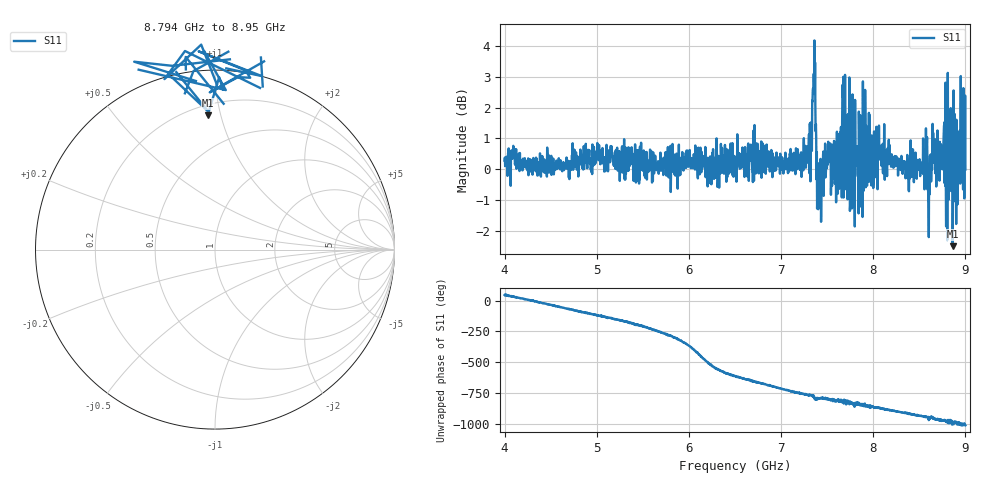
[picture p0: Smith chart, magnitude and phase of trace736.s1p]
! Created with skrf 1.8.0 (http://scikit-rf.org).
# Hz S RI R 50.0
!freq ReS11 ImS11
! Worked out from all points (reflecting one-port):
!   1601 points, 4 GHz to 9 GHz, reference 50 ohm
!   lowest |S11| = -2.5 dB at 8.862 GHz (marker M1), VSWR 6.98, Z = 13.3 + j45.5 ohm
!   phase of S11 starts at 46 deg and turns -1057 deg over the sweep
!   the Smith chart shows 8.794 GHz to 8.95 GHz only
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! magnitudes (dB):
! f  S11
! 4 GHz  0.3
! 4.625 GHz  -0.1
! 5.25 GHz  -0.4
! 5.875 GHz  0.3
! 6.5 GHz  0.0
! 7.125 GHz  0.2
! 7.294 GHz  0.2
! 7.356 GHz  3.1
! 7.4 GHz  -0.4
! 7.416 GHz  -0.8
! 7.512 GHz  0.9
! 7.612 GHz  0.3
! 7.669 GHz  2.3
! 7.688 GHz  1.0
! 7.703 GHz  0.4
! 7.719 GHz  -0.9
! 7.75 GHz  -1.1
! 8.05 GHz  0.8
! 8.375 GHz  0.0
! 8.562 GHz  0.6
! 8.612 GHz  -0.2
! 8.656 GHz  0.3
! 8.759 GHz  0.4
! 8.834 GHz  1.1
! 8.862 GHz  -2.5
! 8.919 GHz  -0.3
! 8.959 GHz  1.6
! 9 GHz  0.0
